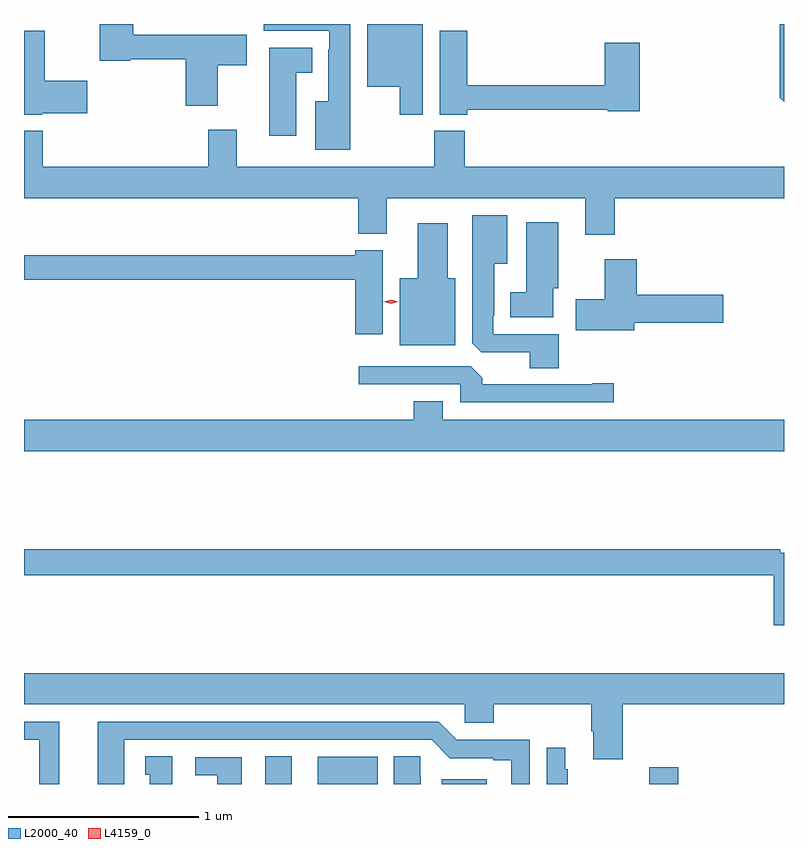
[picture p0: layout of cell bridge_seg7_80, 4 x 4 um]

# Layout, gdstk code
import gdstk
lib = gdstk.Library(unit=1e-6, precision=1e-09)
def R(c, l, rs):  # rectangles x0, y0, x1, y1
    for r in rs: c.add(gdstk.rectangle(r[:2], r[2:], *l))
def P(c, l, *ps):  # polygons
    for p in ps: c.add(gdstk.Polygon(p, *l))
L2000_40 = (2000, 40)
L4159_0 = (4159, 0)

bridge_seg7_80 = lib.new_cell('bridge_seg7_80')
R(bridge_seg7_80, L2000_40, [(1104.824,998.864,1104.964,999.011), (1105.1,998.864,1105.417,999.007), (1105.754,998.864,1105.99,998.89), (1106.845,998.864,1106.999,998.953)])
P(bridge_seg7_80, L2000_40, [(1107.555,1002.864),(1107.533,1002.864),(1107.533,1002.477),(1107.555,1002.455)],
  [(1105.654,1002.864),(1105.361,1002.864),(1105.361,1002.533),(1105.532,1002.533),(1105.532,1002.387),(1105.654,1002.387)],
  [(1105.273,1002.864),(1104.818,1002.864),(1104.818,1002.828),(1105.161,1002.828),(1105.161,1002.731),(1105.157,1002.731),(1105.157,1002.457),(1105.088,1002.457),(1105.088,1002.203),(1105.273,1002.203)],
  [(1104.574,1002.646),(1104.727,1002.646),(1104.727,1002.808),(1104.131,1002.808),(1104.131,1002.864),(1103.953,1002.864),(1103.953,1002.671),(1104.114,1002.671),(1104.114,1002.679),(1104.407,1002.679),(1104.407,1002.435),(1104.574,1002.435)],
  [(1103.652,1002.395),(1103.887,1002.395),(1103.887,1002.566),(1103.664,1002.566),(1103.664,1002.829),(1103.555,1002.829),(1103.555,1002.386),(1103.652,1002.386)],
  [(1105.889,1002.414),(1106.628,1002.414),(1106.628,1002.406),(1106.795,1002.406),(1106.795,1002.766),(1106.612,1002.766),(1106.612,1002.542),(1105.889,1002.542),(1105.889,1002.829),(1105.742,1002.829),(1105.742,1002.386),(1105.889,1002.386)],
  [(1104.988,1002.608),(1105.072,1002.608),(1105.072,1002.739),(1104.845,1002.739),(1104.845,1002.276),(1104.988,1002.276)],
  [(1106.663,1001.948),(1107.555,1001.948),(1107.555,1002.112),(1105.874,1002.112),(1105.874,1002.301),(1105.714,1002.301),(1105.714,1002.112),(1104.676,1002.112),(1104.676,1002.307),(1104.524,1002.307),(1104.524,1002.112),(1103.654,1002.112),(1103.654,1002.301),(1103.555,1002.301),(1103.555,1001.948),(1105.313,1001.948),(1105.313,1001.759),(1105.465,1001.759),(1105.465,1001.948),(1106.51,1001.948),(1106.51,1001.754),(1106.663,1001.754)],
  [(1106.369,1001.232),(1106.025,1001.232),(1106.025,1001.329),(1106.029,1001.329),(1106.029,1001.603),(1106.098,1001.603),(1106.098,1001.857),(1105.913,1001.857),(1105.913,1001.185),(1105.962,1001.136),(1106.216,1001.136),(1106.216,1001.053),(1106.369,1001.053)],
  [(1106.341,1001.472),(1106.368,1001.472),(1106.368,1001.821),(1106.198,1001.821),(1106.198,1001.452),(1106.114,1001.452),(1106.114,1001.321),(1106.341,1001.321)],
  [(1105.825,1001.527),(1105.786,1001.527),(1105.786,1001.815),(1105.628,1001.815),(1105.628,1001.527),(1105.532,1001.527),(1105.532,1001.174),(1105.825,1001.174)],
  [(1105.444,1001.674),(1105.298,1001.674),(1105.298,1001.647),(1103.555,1001.647),(1103.555,1001.518),(1105.298,1001.518),(1105.298,1001.232),(1105.444,1001.232)],
  [(1106.767,1001.291),(1107.235,1001.291),(1107.235,1001.438),(1106.78,1001.438),(1106.78,1001.626),(1106.612,1001.626),(1106.612,1001.415),(1106.46,1001.415),(1106.46,1001.252),(1106.767,1001.252)],
  [(1106.659,1000.973),(1106.546,1000.973),(1106.546,1000.968),(1105.967,1000.968),(1105.967,1001.002),(1105.905,1001.064),(1105.317,1001.064),(1105.317,1000.968),(1105.851,1000.968),(1105.851,1000.872),(1106.659,1000.872)],
  [(1107.555,1000.78),(1105.759,1000.78),(1105.759,1000.879),(1105.607,1000.879),(1105.607,1000.78),(1103.555,1000.78),(1103.555,1000.616),(1107.555,1000.616)],
  [(1107.555,1000.08),(1107.536,1000.08),(1107.536,1000.1),(1103.555,1000.1),(1103.555,999.964),(1107.5,999.964),(1107.5,999.699),(1107.555,999.699)],
  [(1106.705,999.284),(1107.555,999.284),(1107.555,999.448),(1103.555,999.448),(1103.555,999.284),(1105.875,999.284),(1105.875,999.186),(1106.027,999.186),(1106.027,999.284),(1106.54,999.284),(1106.54,999.142),(1106.552,999.142),(1106.552,998.994),(1106.705,998.994)],
  [(1103.74,999.192),(1103.555,999.192),(1103.555,999.096),(1103.636,999.096),(1103.636,998.864),(1103.74,998.864)],
  [(1104.082,999.096),(1105.701,999.096),(1105.797,999),(1106.024,999),(1106.024,998.988),(1106.12,998.988),(1106.12,998.864),(1106.217,998.864),(1106.217,999.096),(1105.833,999.096),(1105.737,999.192),(1103.942,999.192),(1103.942,998.864),(1104.082,998.864)],
  [(1106.416,998.942),(1106.404,998.942),(1106.404,999.055),(1106.307,999.055),(1106.307,998.864),(1106.416,998.864)],
  [(1105.642,998.9),(1105.641,998.9),(1105.641,999.011),(1105.502,999.011),(1105.502,998.864),(1105.642,998.864)],
  [(1104.334,999.011),(1104.194,999.011),(1104.194,998.913),(1104.218,998.913),(1104.218,998.864),(1104.334,998.864)],
  [(1104.7,999.006),(1104.456,999.006),(1104.456,998.91),(1104.572,998.91),(1104.572,998.864),(1104.7,998.864)])
P(bridge_seg7_80, L4159_0, [(1105.486,1001.392),(1105.448,1001.403),(1105.448,1001.403),(1105.448,1001.403),(1105.487,1001.412),(1105.525,1001.401),(1105.525,1001.401),(1105.525,1001.401)])

lib.write_gds('bridge_seg7_80.gds')
